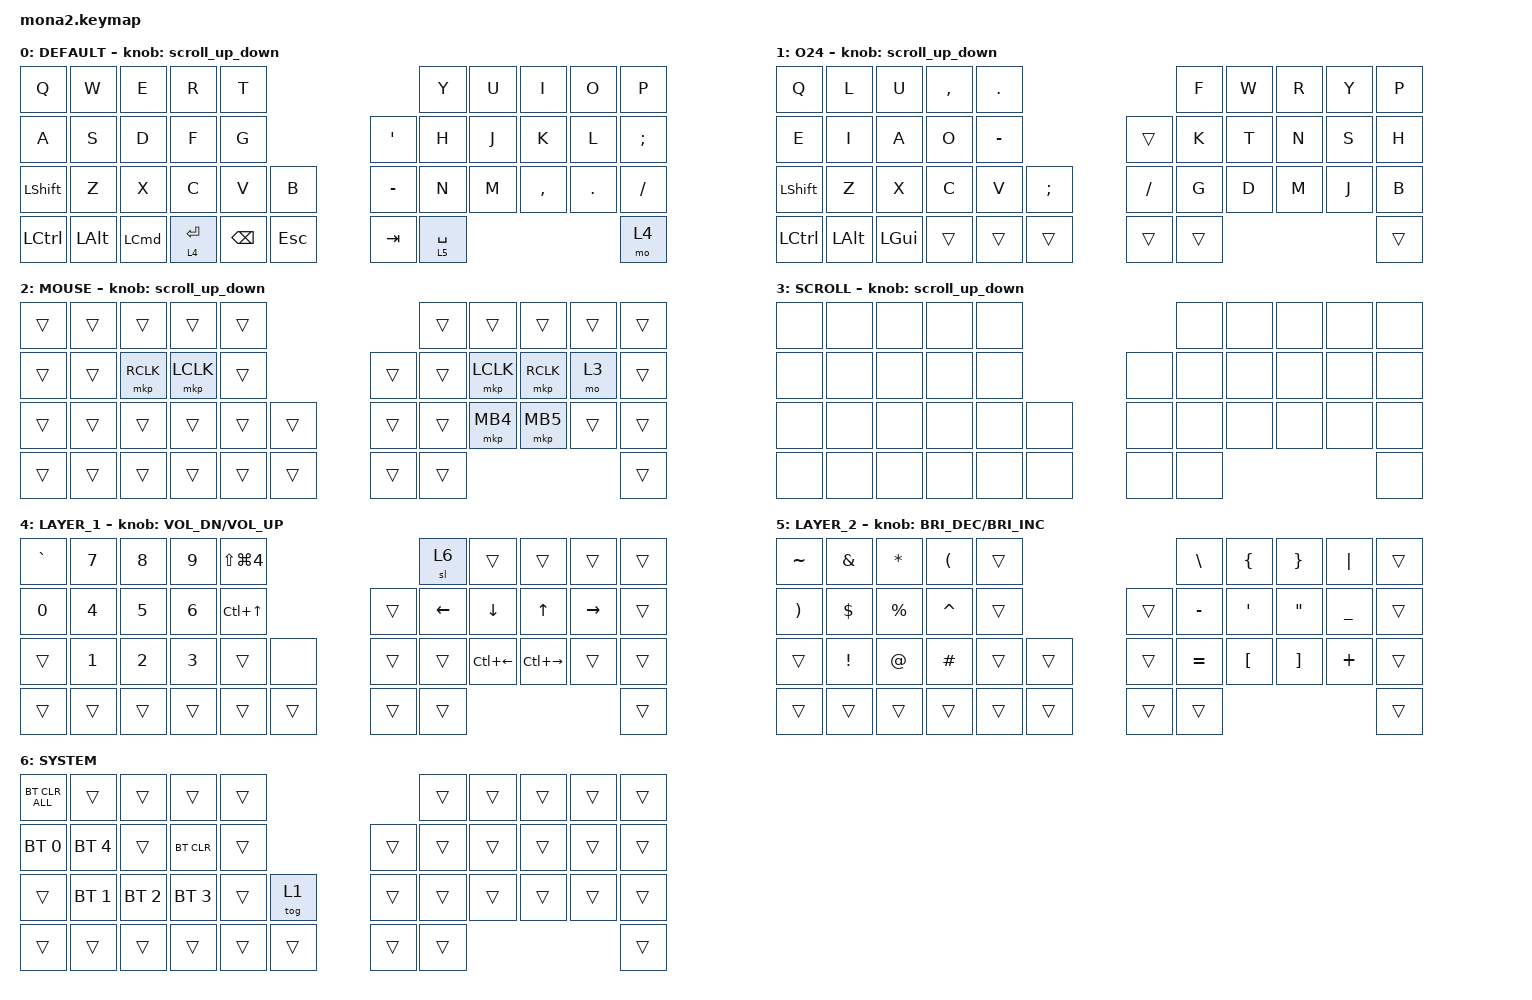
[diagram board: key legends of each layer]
#define ZMK_POINTING_DEFAULT_SCRL_VAL 100

#include <input/processors.dtsi>
#include <behaviors.dtsi>
#include <dt-bindings/zmk/bt.h>
#include <dt-bindings/zmk/keys.h>
#include <dt-bindings/zmk/pointing.h>

&mt {
    flavor = "balanced";
    quick-tap-ms = <200>;
};

&lt { quick-tap-ms = <200>; };

&mkp_input_listener { input-processors = <&zip_temp_layer 2 200>; };

/ {
    combos {
        compatible = "zmk,combos";

        eisu {
            bindings = <&kp LANG2>;
            key-positions = <12 13>;
        };

        kana {
            bindings = <&kp LANG1>;
            key-positions = <17 18>;
        };
    };

    behaviors {
        scroll_up_down: behavior_sensor_rotate_mouse_wheel_up_down {
            compatible = "zmk,behavior-sensor-rotate";
            #sensor-binding-cells = <0>;
            bindings = <&msc SCRL_UP>, <&msc SCRL_DOWN>;
            tap-ms = <20>;
        };
    };

    keymap {
        compatible = "zmk,keymap";

        DEFAULT {
            bindings = <
&kp Q           &kp W     &kp E             &kp R        &kp T                                          &kp Y        &kp U  &kp I      &kp O    &kp P
&kp A           &kp S     &kp D             &kp F        &kp G                        &kp SINGLE_QUOTE  &kp H        &kp J  &kp K      &kp L    &kp SEMICOLON
&kp LEFT_SHIFT  &kp Z     &kp X             &kp C        &kp V          &kp B         &kp MINUS         &kp N        &kp M  &kp COMMA  &kp DOT  &kp SLASH
&kp LCTRL       &kp LALT  &kp LEFT_COMMAND  &lt 4 ENTER  &kp BACKSPACE  &kp ESCAPE    &kp TAB           &lt 5 SPACE                             &mo 4
            >;

            sensor-bindings = <&scroll_up_down>;
        };

        O24 {
            bindings = <
&kp Q      &kp L     &kp U     &kp COMMA  &kp DOT                           &kp F   &kp W  &kp R  &kp Y  &kp P
&kp E      &kp I     &kp A     &kp O      &kp MINUS              &trans     &kp K   &kp T  &kp N  &kp S  &kp H
&kp LSHFT  &kp Z     &kp X     &kp C      &kp V      &kp SEMI    &kp SLASH  &kp G   &kp D  &kp M  &kp J  &kp B
&kp LCTRL  &kp LALT  &kp LGUI  &trans     &trans     &trans      &trans     &trans                       &trans
            >;

            sensor-bindings = <&scroll_up_down>;
        };

        MOUSE {
            bindings = <
&trans  &trans  &trans     &trans     &trans                    &trans  &trans     &trans     &trans  &trans
&trans  &trans  &mkp RCLK  &mkp LCLK  &trans            &trans  &trans  &mkp LCLK  &mkp RCLK  &mo 3   &trans
&trans  &trans  &trans     &trans     &trans  &trans    &trans  &trans  &mkp MB4   &mkp MB5   &trans  &trans
&trans  &trans  &trans     &trans     &trans  &trans    &trans  &trans                                &trans
            >;

            sensor-bindings = <&scroll_up_down>;
        };

        SCROLL {
            bindings = <
&none  &none  &none  &none  &none                  &none  &none  &none  &none  &none
&none  &none  &none  &none  &none           &none  &none  &none  &none  &none  &none
&none  &none  &none  &none  &none  &none    &none  &none  &none  &none  &none  &none
&none  &none  &none  &none  &none  &none    &none  &none                       &none
            >;

            sensor-bindings = <&scroll_up_down>;
        };

        LAYER_1 {
            bindings = <
&kp GRAVE  &kp N7  &kp N8  &kp N9  &kp LS(LG(NUMBER_4))                    &sl 6           &trans              &trans               &trans           &trans
&kp N0     &kp N4  &kp N5  &kp N6  &kp LC(UP_ARROW)                &trans  &kp LEFT_ARROW  &kp DOWN_ARROW      &kp UP_ARROW         &kp RIGHT_ARROW  &trans
&trans     &kp N1  &kp N2  &kp N3  &trans                &none     &trans  &trans          &kp LC(LEFT_ARROW)  &kp LC(RIGHT_ARROW)  &trans           &trans
&trans     &trans  &trans  &trans  &trans                &trans    &trans  &trans                                                                    &trans
            >;

            sensor-bindings = <&inc_dec_kp C_VOL_DN C_VOL_UP>;
        };

        LAYER_2 {
            bindings = <
&kp TILDE  &kp AMPS  &kp STAR   &kp LPAR   &trans                    &kp BACKSLASH  &kp LEFT_BRACE    &kp RIGHT_BRACE    &kp PIPE        &trans
&kp RPAR   &kp DLLR  &kp PRCNT  &kp CARET  &trans            &trans  &kp MINUS      &kp SINGLE_QUOTE  &kp DOUBLE_QUOTES  &kp UNDERSCORE  &trans
&trans     &kp EXCL  &kp AT     &kp HASH   &trans  &trans    &trans  &kp EQUAL      &kp LEFT_BRACKET  &kp RIGHT_BRACKET  &kp PLUS        &trans
&trans     &trans    &trans     &trans     &trans  &trans    &trans  &trans                                                              &trans
            >;

            sensor-bindings = <&inc_dec_kp C_BRIGHTNESS_DEC C_BRIGHTNESS_INC>;
        };

        SYSTEM {
            bindings = <
&bt BT_CLR_ALL  &trans        &trans        &trans        &trans                    &trans  &trans  &trans  &trans  &trans
&bt BT_SEL 0    &bt BT_SEL 4  &trans        &bt BT_CLR    &trans            &trans  &trans  &trans  &trans  &trans  &trans
&trans          &bt BT_SEL 1  &bt BT_SEL 2  &bt BT_SEL 3  &trans  &tog 1    &trans  &trans  &trans  &trans  &trans  &trans
&trans          &trans        &trans        &trans        &trans  &trans    &trans  &trans                          &trans
            >;
        };
    };
};
